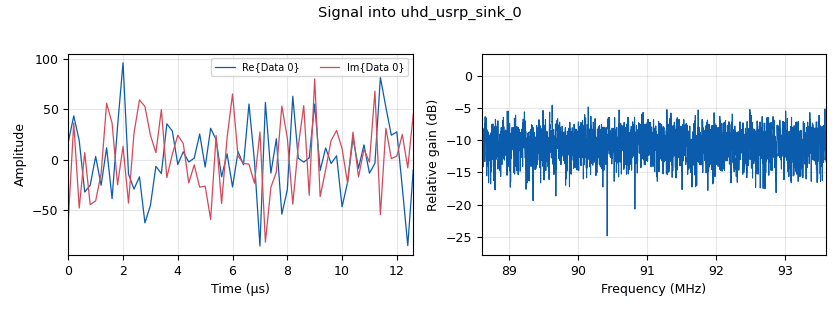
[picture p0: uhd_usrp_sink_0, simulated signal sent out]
<?xml version='1.0' encoding='utf-8'?>
<?grc format='1' created='3.7.13'?>
<flow_graph>
<block>
<key>options</key>
<param><key>id</key><value>rf_blackout</value></param>
<param><key>category</key><value>Custom</value></param>
<param><key>generate_options</key><value>wx_gui</value></param>
</block>
<block>
<key>variable_slider</key>
<param><key>id</key><value>bandwidth</value></param>
<param><key>converver</key><value>float_converter</value></param>
<param><key>value</key><value>bandwidth_size</value></param>
<param><key>label</key><value>Bandwidth Size</value></param>
<param><key>max</key><value>50e6</value></param>
<param><key>min</key><value>2e6</value></param>
<param><key>num_steps</key><value>10</value></param>
<param><key>style</key><value>wx.SL_HORIZONTAL</value></param>
</block>
<block>
<key>variable</key>
<param><key>id</key><value>bandwidth_size</value></param>
<param><key>value</key><value>10e6</value></param>
</block>
<block>
<key>variable_slider</key>
<param><key>id</key><value>cent_freq</value></param>
<param><key>converver</key><value>float_converter</value></param>
<param><key>value</key><value>target_freq</value></param>
<param><key>label</key><value>Target Frequency</value></param>
<param><key>max</key><value>6000e6</value></param>
<param><key>min</key><value>70e6</value></param>
<param><key>num_steps</key><value>1000</value></param>
<param><key>style</key><value>wx.SL_HORIZONTAL</value></param>
</block>
<block>
<key>variable_slider</key>
<param><key>id</key><value>gain</value></param>
<param><key>converver</key><value>float_converter</value></param>
<param><key>value</key><value>rf_gain</value></param>
<param><key>label</key><value>RF gain</value></param>
<param><key>max</key><value>60</value></param>
<param><key>min</key><value>10</value></param>
<param><key>num_steps</key><value>10</value></param>
<param><key>style</key><value>wx.SL_HORIZONTAL</value></param>
</block>
<block>
<key>variable</key>
<param><key>id</key><value>rf_gain</value></param>
<param><key>value</key><value>10</value></param>
</block>
<block>
<key>variable</key>
<param><key>id</key><value>samp_rate</value></param>
<param><key>value</key><value>5e6</value></param>
</block>
<block>
<key>variable_slider</key>
<param><key>id</key><value>sample_rate</value></param>
<param><key>converver</key><value>float_converter</value></param>
<param><key>value</key><value>samp_rate</value></param>
<param><key>label</key><value>Sample rate</value></param>
<param><key>max</key><value>20e6</value></param>
<param><key>min</key><value>2e6</value></param>
<param><key>num_steps</key><value>10</value></param>
<param><key>style</key><value>wx.SL_HORIZONTAL</value></param>
</block>
<block>
<key>variable</key>
<param><key>id</key><value>target_freq</value></param>
<param><key>value</key><value>91.1E6</value></param>
</block>
<block>
<key>analog_noise_source_x</key>
<param><key>id</key><value>analog_noise_source_x_0</value></param>
<param><key>amp</key><value>50</value></param>
<param><key>noise_type</key><value>analog.GR_GAUSSIAN</value></param>
<param><key>type</key><value>complex</value></param>
<param><key>seed</key><value>0</value></param>
</block>
<block>
<key>uhd_usrp_sink</key>
<param><key>id</key><value>uhd_usrp_sink_0</value></param>
<param><key>ant0</key><value></value></param>
<param><key>bw0</key><value>bandwidth</value></param>
<param><key>center_freq0</key><value>cent_freq</value></param>
<param><key>norm_gain0</key><value>False</value></param>
<param><key>gain0</key><value>gain</value></param>
<param><key>clock_rate</key><value>0.0</value></param>
<param><key>dev_args</key><value>""</value></param>
<param><key>type</key><value>fc32</value></param>
<param><key>sd_spec0</key><value>A:A</value></param>
<param><key>samp_rate</key><value>sample_rate</value></param>
<param><key>hide_cmd_port</key><value>True</value></param>
<param><key>hide_lo_controls</key><value>True</value></param>
<param><key>sync</key><value></value></param>
<param><key>len_tag_name</key><value></value></param>
</block>
<connection><source_block_id>analog_noise_source_x_0</source_block_id><sink_block_id>uhd_usrp_sink_0</sink_block_id><source_key>0</source_key><sink_key>0</sink_key></connection>
</flow_graph>
